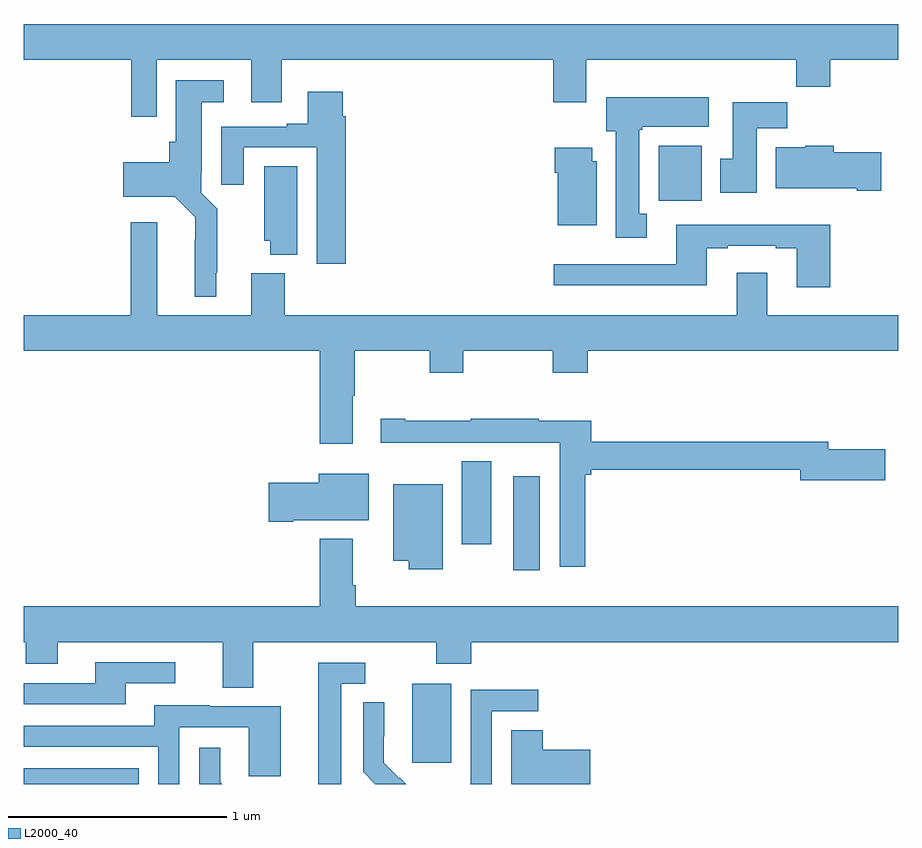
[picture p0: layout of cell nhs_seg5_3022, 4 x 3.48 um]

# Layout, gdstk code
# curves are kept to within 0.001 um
import gdstk
lib = gdstk.Library(unit=1e-6, precision=1e-09)
def R(c, l, rs):  # rectangles x0, y0, x1, y1
    for r in rs: c.add(gdstk.rectangle(r[:2], r[2:], *l))
def P(c, l, *ps):  # polygons
    for p in ps: c.add(gdstk.Polygon(p, *l))
L2000_40 = (2000, 40)

nhs_seg5_3022 = lib.new_cell('nhs_seg5_3022')
R(nhs_seg5_3022, L2000_40, [(287,834.799,287.526,834.87), (288.776,834.897,288.955,835.258), (289.238,835.776,289.36,836.206), (289.004,835.896,289.138,836.276), (289.905,837.468,290.101,837.718)])
P(nhs_seg5_3022, L2000_40, [(287.607,838.112),(288.041,838.112),(288.041,837.918),(288.181,837.918),(288.181,838.112),(289.421,838.112),(289.421,837.918),(289.573,837.918),(289.573,838.112),(290.533,838.112),(290.533,837.988),(290.69,837.988),(290.69,838.112),(291,838.112),(291,838.276),(287,838.276),(287,838.112),(287.491,838.112),(287.491,837.852),(287.607,837.852)],
  [(287.881,837.139),(287.885,837.139),(287.885,837.43),(287.811,837.504),(287.811,837.598),(287.815,837.598),(287.815,837.917),(287.914,837.917),(287.914,838.018),(287.696,838.018),(287.696,837.738),(287.666,837.738),(287.666,837.643),(287.454,837.643),(287.454,837.485),(287.691,837.485),(287.784,837.392),(287.783,837.029),(287.881,837.029)],
  [(288.473,837.854),(288.46,837.854),(288.46,837.967),(288.299,837.967),(288.299,837.82),(288.203,837.82),(288.203,837.807),(287.903,837.807),(287.903,837.54),(288.007,837.54),(288.007,837.711),(288.341,837.711),(288.341,837.18),(288.473,837.18)],
  [(289.849,837.409),(289.816,837.409),(289.816,837.793),(289.83,837.793),(289.83,837.806),(290.134,837.806),(290.134,837.94),(289.664,837.94),(289.664,837.786),(289.709,837.786),(289.709,837.297),(289.849,837.297)],
  [(290.353,837.8),(290.492,837.8),(290.492,837.919),(290.243,837.919),(290.243,837.66),(290.186,837.66),(290.186,837.504),(290.353,837.504)],
  [(290.923,837.69),(290.705,837.69),(290.705,837.718),(290.574,837.718),(290.574,837.712),(290.441,837.712),(290.441,837.524),(290.81,837.524),(290.81,837.512),(290.923,837.512)],
  [(289.621,837.648),(289.6,837.648),(289.6,837.709),(289.43,837.709),(289.43,837.596),(289.442,837.596),(289.442,837.356),(289.621,837.356)],
  [(288.25,837.626),(288.101,837.626),(288.101,837.285),(288.128,837.285),(288.128,837.221),(288.25,837.221)],
  [(288.505,836.576),(288.513,836.576),(288.513,836.78),(288.856,836.78),(288.856,836.681),(289.011,836.681),(289.011,836.78),(289.42,836.78),(289.42,836.681),(289.58,836.681),(289.58,836.78),(291,836.78),(291,836.944),(290.401,836.944),(290.401,837.139),(290.261,837.139),(290.261,836.944),(288.194,836.944),(288.194,837.136),(288.041,837.136),(288.041,836.944),(287.611,836.944),(287.611,837.37),(287.489,837.37),(287.489,836.944),(287,836.944),(287,836.78),(288.353,836.78),(288.353,836.355),(288.505,836.355)],
  [(290.69,837.358),(289.985,837.358),(289.985,837.177),(289.425,837.177),(289.425,837.08),(290.125,837.08),(290.125,837.249),(290.221,837.249),(290.221,837.261),(290.441,837.261),(290.441,837.249),(290.537,837.249),(290.537,837.072),(290.69,837.072)],
  [(289.568,836.213),(289.595,836.213),(289.595,836.236),(290.552,836.236),(290.552,836.189),(290.941,836.189),(290.941,836.331),(290.68,836.331),(290.68,836.365),(289.595,836.365),(289.595,836.46),(289.355,836.46),(289.355,836.47),(289.045,836.47),(289.045,836.46),(288.745,836.46),(288.745,836.47),(288.633,836.47),(288.633,836.36),(288.908,836.36),(288.908,836.361),(289.242,836.361),(289.242,836.36),(289.452,836.36),(289.452,835.794),(289.568,835.794)],
  [(288.232,836.006),(288.577,836.006),(288.577,836.218),(288.35,836.218),(288.35,836.177),(288.12,836.177),(288.12,835.999),(288.232,835.999)],
  [(288.916,836.17),(288.689,836.17),(288.689,835.82),(288.761,835.82),(288.761,835.781),(288.916,835.781)],
  [(288.049,835.448),(288.886,835.448),(288.886,835.349),(289.046,835.349),(289.046,835.448),(291,835.448),(291,835.612),(288.518,835.612),(288.518,835.708),(288.505,835.708),(288.505,835.921),(288.353,835.921),(288.353,835.612),(287,835.612),(287,835.448),(287.008,835.448),(287.008,835.349),(287.155,835.349),(287.155,835.448),(287.909,835.448),(287.909,835.24),(288.049,835.24)],
  [(287.467,835.26),(287.692,835.26),(287.692,835.356),(287.327,835.356),(287.327,835.26),(287,835.26),(287,835.164),(287.467,835.164)],
  [(288.451,835.257),(288.562,835.257),(288.562,835.353),(288.347,835.353),(288.347,834.799),(288.451,834.799)],
  [(289.14,835.131),(289.354,835.131),(289.354,835.23),(289.044,835.23),(289.044,834.8),(289.042,834.8),(289.042,834.799),(289.14,834.799)],
  [(288.72,834.828),(288.717,834.825),(288.647,834.896),(288.647,835.018),(288.648,835.018),(288.648,835.172),(288.552,835.172),(288.552,834.854),(288.607,834.799),(288.749,834.799)],
  [(287.712,835.059),(288.03,835.059),(288.03,834.835),(288.175,834.835),(288.175,835.155),(287.851,835.155),(287.851,835.159),(287.597,835.159),(287.597,835.065),(287,835.065),(287,834.969),(287.616,834.969),(287.616,834.799),(287.712,834.799)],
  [(289.591,834.956),(289.373,834.956),(289.373,835.046),(289.229,835.046),(289.229,834.799),(289.591,834.799)],
  [(287.899,834.807),(287.899,834.964),(287.802,834.964),(287.802,834.799),(287.907,834.799)])

lib.write_gds('nhs_seg5_3022.gds')
